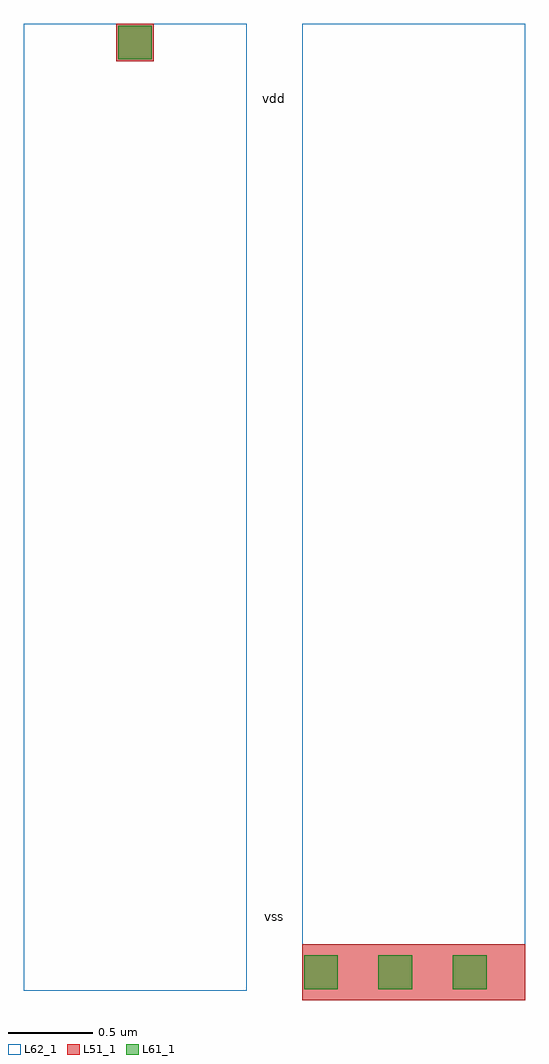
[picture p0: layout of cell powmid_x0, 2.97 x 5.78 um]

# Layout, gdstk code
import gdstk
lib = gdstk.Library(unit=1e-6, precision=1e-09)
def R(c, l, rs):  # rectangles x0, y0, x1, y1
    for r in rs: c.add(gdstk.rectangle(r[:2], r[2:], *l))
def A(c, l, x, y, w, h, nx, ny, dx, dy):  # array of equal rectangles
    R(c, l, [(x+i*dx, y+j*dy, x+i*dx+w, y+j*dy+h) for i in range(nx) for j in range(ny)])
L51_1 = (51, 1)
L61_1 = (61, 1)
L62_1 = (62, 1)

powmid_x0 = lib.new_cell('powmid_x0')
R(powmid_x0, L51_1, [(2.09,-0.165,3.41,0.165), (0.99,5.39,1.21,5.61)])
A(powmid_x0, L61_1, 2.1, -0.1, 0.2, 0.2, 3, 1, 0.44, 0)
R(powmid_x0, L61_1, [(1,5.4,1.2,5.6)])
R(powmid_x0, L62_1, [(2.09,-0.165,3.41,5.61), (0.44,-0.11,1.76,5.61)])
powmid_x0.add(gdstk.Label('vss', (1.925,0.33), layer=49, texttype=1))
powmid_x0.add(gdstk.Label('vdd', (1.925,5.17), layer=49, texttype=1))

lib.write_gds('powmid_x0.gds')
